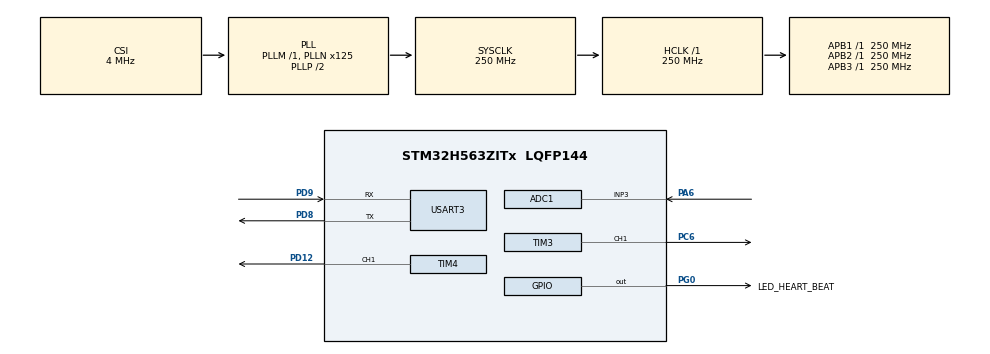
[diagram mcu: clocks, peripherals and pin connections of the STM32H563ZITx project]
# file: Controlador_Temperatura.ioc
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ADC1.Channel-0\#ChannelRegularConversion=ADC_CHANNEL_3
ADC1.ClockPrescaler=ADC_CLOCK_ASYNC_DIV4
ADC1.ContinuousConvMode=DISABLE
ADC1.DataAlign=ADC_DATAALIGN_RIGHT
ADC1.MonitoredBy-0\#ChannelRegularConversion=__NULL
ADC1.NbrOfConversionFlag=1
ADC1.OffsetNumber-0\#ChannelRegularConversion=ADC_OFFSET_NONE
ADC1.Rank-0\#ChannelRegularConversion=1
ADC1.SamplingTime-0\#ChannelRegularConversion=ADC_SAMPLETIME_2CYCLES_5
ADC1.master=1
BOOTPATH.BootPathName=LEGACY
BOOTPATH.UserSelectedBootPath=LEGACY
CORTEX_M33_NS.userName=CORTEX_M33
Mcu.Family=STM32H5
Mcu.Name=STM32H563ZITx
Mcu.Package=LQFP144
NVIC.PriorityGroup=NVIC_PRIORITYGROUP_4
NVIC.TIM6_IRQn=true\:0\:0\:false\:false\:true\:true\:true\:true
NVIC.USART3_IRQn=true\:0\:0\:false\:false\:true\:true\:true\:true
PA6.Signal=ADCx_INP3
PC6.Signal=S_TIM3_CH1
PD12.Signal=S_TIM4_CH1
PD8.Mode=Asynchronous
PD8.Signal=USART3_TX
PD9.Mode=Asynchronous
PD9.Signal=USART3_RX
PG0.GPIO_Label=LED_HEART_BEAT
PG0.Signal=GPIO_Output
ProjectManager.HeapSize=0x200
ProjectManager.StackSize=0x400
ProjectManager.TargetToolchain=STM32CubeIDE
RCC.ADCFreq_Value=250000000
RCC.AHBFreq_Value=250000000
RCC.APB1Freq_Value=250000000
RCC.APB1TimFreq_Value=250000000
RCC.APB2Freq_Value=250000000
RCC.APB2TimFreq_Value=250000000
RCC.APB3Freq_Value=250000000
RCC.CSI_VALUE=4000000
RCC.CortexFreq_Value=250000000
RCC.EPOD_VALUE=4000000
RCC.HCLKFreq_Value=250000000
RCC.HSE_VALUE=25000000
RCC.HSI48_VALUE=48000000
RCC.HSI_VALUE=64000000
RCC.LSE_VALUE=32768
RCC.LSIRC_VALUE=32000
RCC.PLL2FRACN=0
RCC.PLL3FRACN=0
RCC.PLLFRACN=0
RCC.PLLN=125
RCC.SYSCLKFreq_VALUE=250000000
RCC.SYSCLKSource=RCC_SYSCLKSOURCE_PLLCLK
RCC.USBFreq_Value=48000000
RCC.VCOOutputFreq_Value=500000000
SH.ADCx_INP3.0=ADC1_INP3,IN3-Single-Ended
SH.S_TIM3_CH1.0=TIM3_CH1,PWM Generation1 CH1
SH.S_TIM4_CH1.0=TIM4_CH1,PWM Generation1 CH1
TIM3.Channel-PWM\ Generation1\ CH1=TIM_CHANNEL_1
TIM3.PeriodNoDither=2500-1
TIM3.Prescaler=5-1
TIM4.Channel-PWM\ Generation1\ CH1=TIM_CHANNEL_1
TIM4.PeriodNoDither=2500-1
TIM4.Prescaler=5-1
TIM6.Prescaler=10000-1
USART3.VirtualMode-Asynchronous=VM_ASYNC
VP_BOOTPATH_VS_BOOTPATH.Mode=BP_Activate
VP_CORTEX_M33_NS_VS_Hclk.Mode=Hclk_Mode
VP_ICACHE_VS_ICACHE.Mode=DefaultMode
VP_MEMORYMAP_VS_MEMORYMAP.Mode=CurAppReg
VP_PWR_VS_LPOM.Mode=PowerOptimisation
VP_PWR_VS_SECSignals.Mode=Security/Privilege
VP_TIM6_VS_ClockSourceINT.Mode=Enable_Timer
board=custom

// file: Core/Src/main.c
/* USER CODE BEGIN Header */
/**
  ******************************************************************************
  * @file           : main.c
  * @brief          : Main program body
  ******************************************************************************
  * @attention
  *
  * Copyright (c) 2025 STMicroelectronics.
  * All rights reserved.
  *
  * This software is licensed under terms that can be found in the LICENSE file
  * in the root directory of this software component.
  * If no LICENSE file comes with this software, it is provided AS-IS.
  *
  ******************************************************************************
  */
/* USER CODE END Header */
#include "main.h"
#include "adc.h"
#include "icache.h"
#include "tim.h"
#include "usart.h"
#include "gpio.h"

/* USER CODE BEGIN Includes */
#include "lm35.h"
#include "nextion.h"
#include <stdio.h>
#include <string.h>
#include "pwm.h"
#include "nextion_control_events.h"
#include "control.h"
#include "nextion_interface.h"
#include "nextion_events.h"

/* USER CODE END Includes */

/* USER CODE BEGIN PV */
float duty_cicle;
/* USER CODE END PV */

void SystemClock_Config(void);

int main(void)
{

  /* MCU Configuration--------------------------------------------------------*/

  /* Reset of all peripherals, Initializes the Flash interface and the Systick. */
  HAL_Init();

  /* Configure the system clock */
  SystemClock_Config();

  /* Initialize all configured peripherals */
  MX_GPIO_Init();
  MX_ADC1_Init();
  MX_ICACHE_Init();
  MX_USART3_UART_Init();
  MX_TIM3_Init();
  MX_TIM4_Init();
  MX_TIM6_Init();
  /* USER CODE BEGIN 2 */

  HAL_TIM_Base_Start_IT(&htim6);
  nextion_init();
  PWM_Init(&htim3, TIM_CHANNEL_1);
  PWM_Init(&htim4, TIM_CHANNEL_1);
  Nextion_controle_eventos_init();
  event_queue_init(&FilaEventos);
  Nextion_controle_eventos_init();

  /* USER CODE END 2 */

  /* Infinite loop */
  /* USER CODE BEGIN WHILE */
  while (1)
  {
	  Controle_Temperatura();
	  Nextion_controle_eventos_run();
	  Atualiza_PWM();

    /* USER CODE END WHILE */

  }
}

void SystemClock_Config(void)
{
  RCC_OscInitTypeDef RCC_OscInitStruct = {0};
  RCC_ClkInitTypeDef RCC_ClkInitStruct = {0};

  /** Configure the main internal regulator output voltage
  */
  __HAL_PWR_VOLTAGESCALING_CONFIG(PWR_REGULATOR_VOLTAGE_SCALE0);

  while(!__HAL_PWR_GET_FLAG(PWR_FLAG_VOSRDY)) {}

  /** Initializes the RCC Oscillators according to the specified parameters
  * in the RCC_OscInitTypeDef structure.
  */
  RCC_OscInitStruct.OscillatorType = RCC_OSCILLATORTYPE_CSI;
  RCC_OscInitStruct.CSIState = RCC_CSI_ON;
  RCC_OscInitStruct.CSICalibrationValue = RCC_CSICALIBRATION_DEFAULT;
  RCC_OscInitStruct.PLL.PLLState = RCC_PLL_ON;
  RCC_OscInitStruct.PLL.PLLSource = RCC_PLL1_SOURCE_CSI;
  RCC_OscInitStruct.PLL.PLLM = 1;
  RCC_OscInitStruct.PLL.PLLN = 125;
  RCC_OscInitStruct.PLL.PLLP = 2;
  RCC_OscInitStruct.PLL.PLLQ = 2;
  RCC_OscInitStruct.PLL.PLLR = 2;
  RCC_OscInitStruct.PLL.PLLRGE = RCC_PLL1_VCIRANGE_2;
  RCC_OscInitStruct.PLL.PLLVCOSEL = RCC_PLL1_VCORANGE_WIDE;
  RCC_OscInitStruct.PLL.PLLFRACN = 0;
  if (HAL_RCC_OscConfig(&RCC_OscInitStruct) != HAL_OK)
  {
    Error_Handler();
  }

  /** Initializes the CPU, AHB and APB buses clocks
  */
  RCC_ClkInitStruct.ClockType = RCC_CLOCKTYPE_HCLK|RCC_CLOCKTYPE_SYSCLK
                              |RCC_CLOCKTYPE_PCLK1|RCC_CLOCKTYPE_PCLK2
                              |RCC_CLOCKTYPE_PCLK3;
  RCC_ClkInitStruct.SYSCLKSource = RCC_SYSCLKSOURCE_PLLCLK;
  RCC_ClkInitStruct.AHBCLKDivider = RCC_SYSCLK_DIV1;
  RCC_ClkInitStruct.APB1CLKDivider = RCC_HCLK_DIV1;
  RCC_ClkInitStruct.APB2CLKDivider = RCC_HCLK_DIV1;
  RCC_ClkInitStruct.APB3CLKDivider = RCC_HCLK_DIV1;

  if (HAL_RCC_ClockConfig(&RCC_ClkInitStruct, FLASH_LATENCY_5) != HAL_OK)
  {
    Error_Handler();
  }

  /** Configure the programming delay
  */
  __HAL_FLASH_SET_PROGRAM_DELAY(FLASH_PROGRAMMING_DELAY_2);
}

/* USER CODE BEGIN 4 */

/* Função de callback do TIM6. Será responsável por implementar a lógica do LED de Heart Beat	*/

void HAL_TIM_PeriodElapsedCallback(TIM_HandleTypeDef *htim){

	if(htim-> Instance == TIM6){
		if(InfosControlador.driver_on){
			HAL_GPIO_TogglePin(LED_HEART_BEAT_GPIO_Port, LED_HEART_BEAT_Pin);
		} else {
			HAL_GPIO_WritePin(LED_HEART_BEAT_GPIO_Port, LED_HEART_BEAT_Pin, GPIO_PIN_SET);
		}
	}

}
/* USER CODE END 4 */

void Error_Handler(void)
{
  __disable_irq();
  while (1)
  {
  }
}
